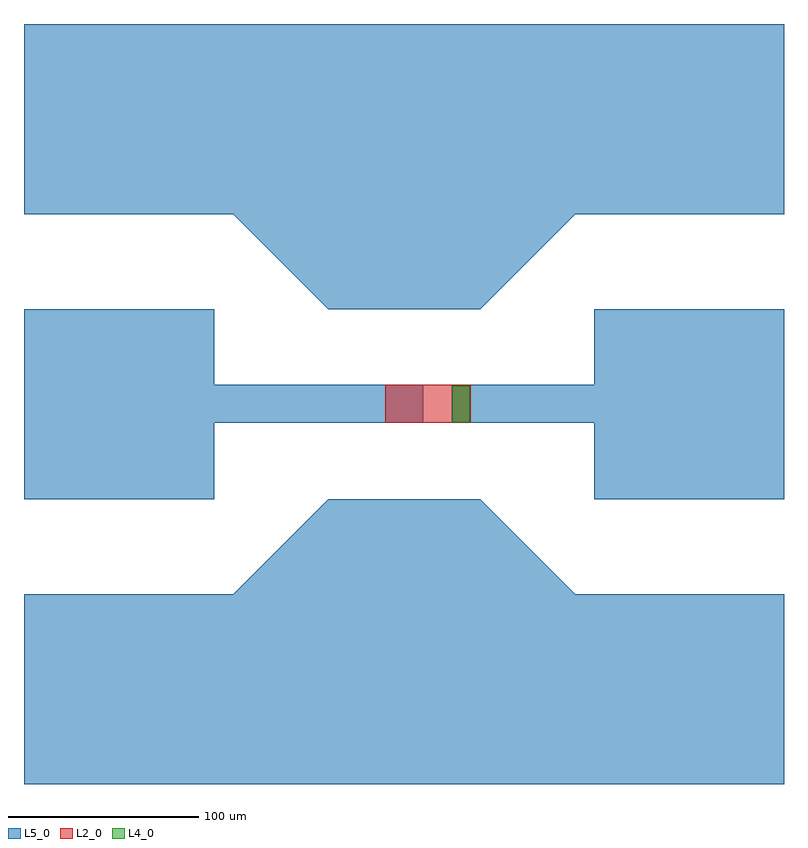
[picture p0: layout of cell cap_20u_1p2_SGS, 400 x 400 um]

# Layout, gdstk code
import gdstk
lib = gdstk.Library(unit=1e-6, precision=5e-10)
def R(c, l, rs):  # rectangles x0, y0, x1, y1
    for r in rs: c.add(gdstk.rectangle(r[:2], r[2:], *l))
def A(c, l, x, y, w, h, nx, ny, dx, dy):  # array of equal rectangles
    R(c, l, [(x+i*dx, y+j*dy, x+i*dx+w, y+j*dy+h) for i in range(nx) for j in range(ny)])
def P(c, l, *ps):  # polygons
    for p in ps: c.add(gdstk.Polygon(p, *l))
L2_0 = (2, 0)
L4_0 = (4, 0)
L5_0 = (5, 0)

sgs_open = lib.new_cell('SGS_open')
A(sgs_open, L5_0, -440, -150, 100, 100, 1, 3, 0, 150)
A(sgs_open, L5_0, -140, -150, 100, 100, 1, 3, 0, 150)
R(sgs_open, L5_0, [(-360,-150,-125,-50), (-280,-55,-200,0), (-341,40.1,-265,60.1), (-215,40.1,-136,60.1), (-280,100,-200,155), (-360,150,-125,250)])
P(sgs_open, L5_0, [(-200,0),(-150,-50),(-200,-50)],
  [(-280,0),(-330,-50),(-280,-50)],
  [(-200,100),(-150,150),(-200,150)],
  [(-280,100),(-330,150),(-280,150)])

cap_20u_1p2_sgs = lib.new_cell('cap_20u_1p2_SGS')
R(cap_20u_1p2_sgs, L2_0, [(-250,40.1,-230,60.1), (-230,40.1,-205,60.1)])
R(cap_20u_1p2_sgs, L4_0, [(-214.5,40.5,-205.5,59.5)])
R(cap_20u_1p2_sgs, L5_0, [(-260,-55,-220,0), (-270,40.1,-250,60.1), (-250,40.1,-230,60.1)])
cap_20u_1p2_sgs.add(gdstk.Reference(sgs_open, (0,0)))

lib.write_gds('cap_20u_1p2_SGS.gds')
